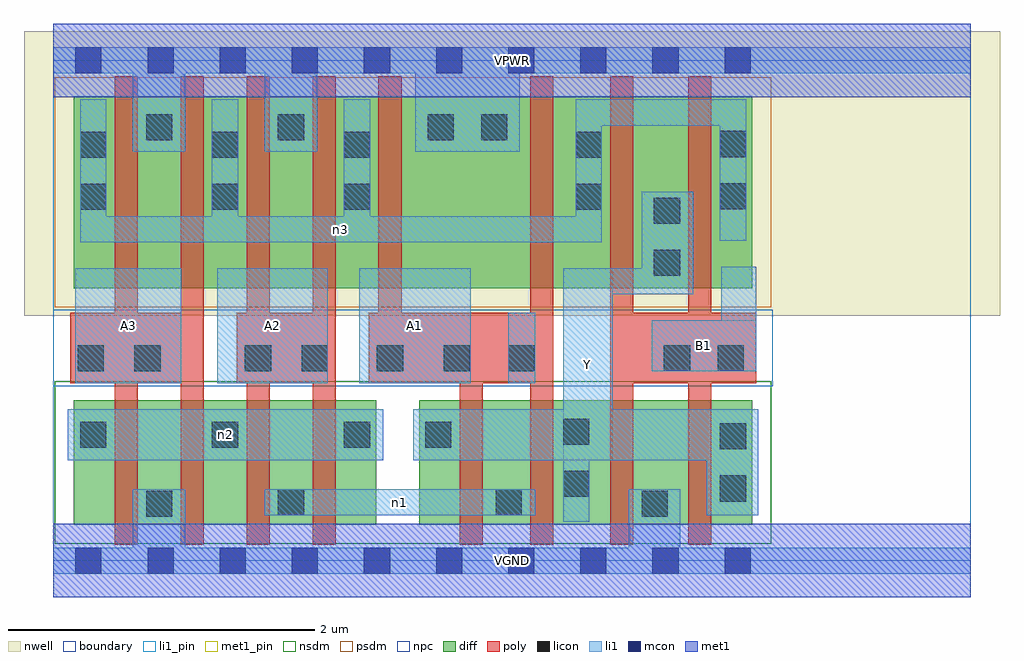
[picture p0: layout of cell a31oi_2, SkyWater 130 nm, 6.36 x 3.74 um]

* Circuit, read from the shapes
.subckt a31oi_2 A1 A2 A3 B1 VGND VPWR Y n1 n2 n3
XM1 VGND A3 n2 VSUBS sky130_fd_pr__nfet_01v8 w=0.81 l=0.15 m=2
XM2 n1 A2 n2 VSUBS sky130_fd_pr__nfet_01v8 w=0.81 l=0.15 m=2
XM3 n1 A1 Y VSUBS sky130_fd_pr__nfet_01v8 w=0.81 l=0.15 m=2
XM4 VGND B1 Y VSUBS sky130_fd_pr__nfet_01v8 w=0.81 l=0.15 m=2
XM5 VPWR A3 n3 n4 sky130_fd_pr__pfet_01v8 w=1.25 l=0.15 m=2
XM6 VPWR A2 n3 n4 sky130_fd_pr__pfet_01v8 w=1.25 l=0.15 m=2
XM7 VPWR A1 n3 n4 sky130_fd_pr__pfet_01v8 w=1.25 l=0.15 m=2
XM8 Y B1 n3 n4 sky130_fd_pr__pfet_01v8 w=1.25 l=0.15 m=2
.ends

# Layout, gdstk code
import gdstk
lib = gdstk.Library(unit=1e-6, precision=1e-09)
def R(c, l, rs):  # rectangles x0, y0, x1, y1
    for r in rs: c.add(gdstk.rectangle(r[:2], r[2:], *l))
def A(c, l, x, y, w, h, nx, ny, dx, dy):  # array of equal rectangles
    R(c, l, [(x+i*dx, y+j*dy, x+i*dx+w, y+j*dy+h) for i in range(nx) for j in range(ny)])
nwell = (64, 20)
diff = (65, 20)
poly = (66, 20)
licon = (66, 44)
li1_pin = (67, 16)
li1 = (67, 20)
mcon = (67, 44)
met1_pin = (68, 16)
met1 = (68, 20)
nsdm = (93, 44)
psdm = (94, 20)
npc = (95, 20)
boundary = (235, 4)

a31oi_2 = lib.new_cell('a31oi_2')
R(a31oi_2, nwell, [(-0.19,1.595,6.17,3.45), (0,1.595,5.98,3.45)])
R(a31oi_2, diff, [(0.135,0.235,2.105,1.045), (2.385,0.235,4.555,1.045), (0.135,1.775,4.555,3.025)])
A(a31oi_2, poly, 0.4, 0.105, 0.15, 3.05, 4, 1, 0.43, 0)
R(a31oi_2, poly, [(2.65,0.105,2.8,1.615), (3.11,0.105,3.26,3.155), (3.63,0.105,3.78,3.155), (4.14,0.105,4.29,3.155), (0.11,1.155,0.98,1.615), (1.195,1.155,1.84,1.615), (2.055,1.155,3.26,1.615), (2.12,1.155,2.27,3.155), (3.63,1.155,4.58,1.615)])
A(a31oi_2, licon, 0.175, 0.735, 0.17, 0.17, 3, 2, 0.86, 1.55)
A(a31oi_2, licon, 0.175, 2.625, 0.17, 0.17, 3, 1, 0.86, 0)
R(a31oi_2, licon, [(0.605,0.285,0.775,0.455), (3.835,0.285,4.005,0.455), (1.465,0.295,1.635,0.465), (2.885,0.295,3.055,0.465), (4.345,0.385,4.515,0.555), (3.325,0.415,3.495,0.585), (4.345,0.725,4.515,0.895), (2.425,0.735,2.595,0.905), (3.325,0.755,3.495,0.925), (0.16,1.235,0.33,1.405), (0.53,1.235,0.7,1.405), (1.25,1.235,1.42,1.405), (1.62,1.235,1.79,1.405), (2.11,1.235,2.28,1.405), (2.545,1.235,2.715,1.405), (2.965,1.235,3.135,1.405), (3.98,1.235,4.15,1.405), (4.33,1.235,4.5,1.405), (3.915,1.855,4.085,2.025), (3.915,2.195,4.085,2.365), (3.405,2.285,3.575,2.455), (4.345,2.29,4.515,2.46), (3.405,2.625,3.575,2.795), (4.345,2.63,4.515,2.8), (0.605,2.74,0.775,2.91), (1.465,2.74,1.635,2.91), (2.44,2.74,2.61,2.91), (2.79,2.74,2.96,2.91)])
R(a31oi_2, li1_pin, [(3.325,0.655,3.645,1.905), (0.145,1.155,0.835,1.905), (1.07,1.155,1.79,1.905), (1.995,1.155,2.72,1.905), (3.9,1.235,4.58,1.565)])
A(a31oi_2, li1, 0.175, 2.075, 0.17, 0.93, 3, 1, 0.86, 0)
R(a31oi_2, li1, [(0,-0.085,5.98,0.085), (0.52,-0.085,0.86,0.465), (3.75,-0.085,4.085,0.465), (3.325,0.255,3.495,1.905), (1.38,0.295,3.14,0.465), (4.26,0.295,4.595,0.985), (0.095,0.655,2.15,0.985), (2.345,0.655,4.595,0.985), (3.325,0.655,3.645,1.905), (0.145,1.155,0.835,1.905), (1.07,1.155,1.79,1.905), (1.995,1.155,2.72,1.905), (2.965,1.155,3.14,1.615), (3.9,1.235,4.58,1.565), (4.355,1.235,4.58,1.915), (3.325,1.735,4.17,1.905), (3.835,1.735,4.17,2.405), (0.175,2.075,3.575,2.245), (3.405,2.075,3.575,3.005), (4.345,2.085,4.515,3.005), (0.52,2.665,0.86,3.345), (1.38,2.665,1.72,3.345), (2.36,2.665,3.04,3.345), (3.405,2.835,4.515,3.005), (0,3.175,5.98,3.345)])
A(a31oi_2, mcon, 0.145, -0.085, 0.17, 0.17, 10, 2, 0.47, 3.26)
R(a31oi_2, met1_pin, [(0,-0.24,5.98,0.24), (0,3.02,5.98,3.5)])
R(a31oi_2, met1, [(0,-0.24,5.98,0.24), (0,3.02,5.98,3.5)])
R(a31oi_2, nsdm, [(0.01,0.11,4.68,1.17)])
R(a31oi_2, psdm, [(0.01,1.65,4.68,3.15)])
R(a31oi_2, npc, [(0,1.135,4.69,1.635)])
R(a31oi_2, boundary, [(0,0,5.98,3.26)])
a31oi_2.add(gdstk.Label('A1', (2.357,1.53), layer=67, texttype=5))
a31oi_2.add(gdstk.Label('A2', (1.43,1.53), layer=67, texttype=5))
a31oi_2.add(gdstk.Label('A3', (0.49,1.53), layer=67, texttype=5))
a31oi_2.add(gdstk.Label('B1', (4.24,1.4), layer=67, texttype=5))
a31oi_2.add(gdstk.Label('Y', (3.485,1.28), layer=67, texttype=5))
a31oi_2.add(gdstk.Label('n1', (2.26,0.38), layer=67, texttype=5))
a31oi_2.add(gdstk.Label('n2', (1.122,0.82), layer=67, texttype=5))
a31oi_2.add(gdstk.Label('n3', (1.875,2.16), layer=67, texttype=5))
a31oi_2.add(gdstk.Label('VPWR', (2.99,3.26), layer=68, texttype=5))
a31oi_2.add(gdstk.Label('VGND', (2.99,0), layer=68, texttype=5))
a31oi_2.add(gdstk.Label('A1', (2.357,1.53), layer=67, texttype=16))
a31oi_2.add(gdstk.Label('A2', (1.43,1.53), layer=67, texttype=16))
a31oi_2.add(gdstk.Label('A3', (0.49,1.53), layer=67, texttype=16))
a31oi_2.add(gdstk.Label('B1', (4.24,1.4), layer=67, texttype=16))
a31oi_2.add(gdstk.Label('Y', (3.485,1.28), layer=67, texttype=16))
a31oi_2.add(gdstk.Label('VPWR', (2.99,3.26), layer=68, texttype=16))
a31oi_2.add(gdstk.Label('VGND', (2.99,0), layer=68, texttype=16))

lib.write_gds('a31oi_2.gds')
